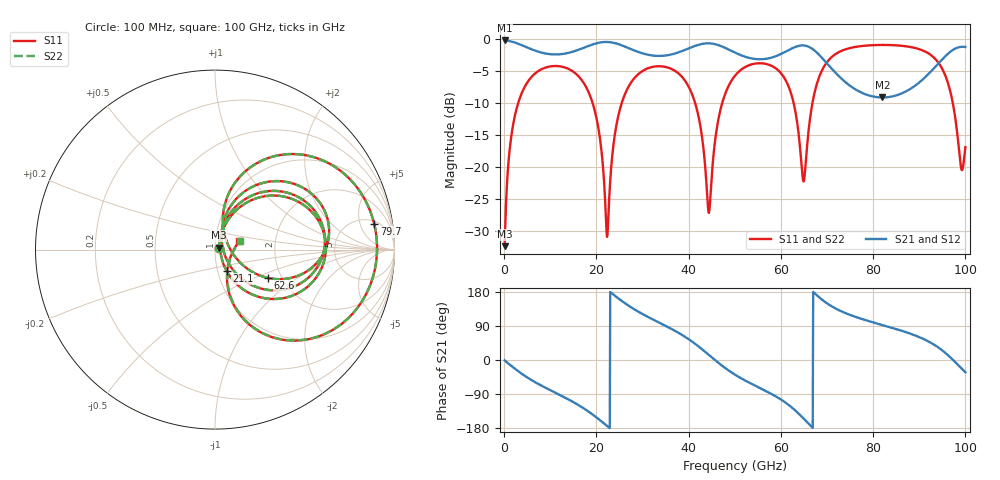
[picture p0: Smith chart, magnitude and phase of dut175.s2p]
! Touchstone file exported from HFSS 2026.1.0
!  File:  C:/ffzhzh/LocalFiles/Ansys_Project_Files/temp_test_TSV_RDL_175_1783473852_48356.aedt
!  Generated:  09:36:13 AM Jul  8, 2026
!  Design:  TSV_RDL
!  Project:  temp_test_TSV_RDL_175_1783473852_48356
! Variables:
!  h_bsmrdl = 3.23um
!  h_ox = 20um
!  h_rdl = 5um
!  h_sub = 74.95um
!  h_tmrdl = 3.38um
!  h_tsv = 74.95um
!  h_via = 3um
!  l_bsmrdl = 155.61um
!  l_sub = 2545.72um
!  l_tmrdl = 400.77um
!  m_sub = 200um
!  pitch = 42.71um
!  r_tsv = 5.46um
!  s_tmrdl = 10um
!  w_bsmrdl = 14.35um
!  w_sub = 500um
!  w_tmrdl = 10.92um
!  x_tsv_center1 = 406.23um
!  x_tsv_center2 = 576.19um
!  x_tsv_center3 = 987.88um
!  x_tsv_center4 = 1157.84um
!  x_tsv_center5 = 1569.53um
!  x_tsv_center6 = 1739.49um
# GHz S MA R 50.000000
! Terminal data exported
! Port[1] = TM_RDL1_1_T1
! Port[2] = TM_RDL5_1_T1
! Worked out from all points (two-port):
!   1000 points, 100 MHz to 100 GHz, reference 50 ohm
!   highest |S21| = -0.19 dB at 100 MHz (marker M1); lowest = -9.1 dB at 82 GHz (marker M2)
!   |S21| within 3 dB of the highest: start of sweep to 69.27 GHz; 94.91 GHz to end of sweep
!   lowest |S11| = -32.3 dB at 100 MHz (marker M3), VSWR 1.05, Z = 52.2 + j1.2 ohm
!   |S11| at or under -10 dB: 19.19 GHz to 25.47 GHz (6.28 GHz wide, 28.1 % of centre); 41.42 GHz to 47.26 GHz (5.835 GHz wide, 13.2 % of centre); 62.77 GHz to 66.83 GHz (4.054 GHz wide, 6.26 % of centre) (the widest 3 of 5)
!   |S22| runs from -32.3 to -0.9 dB; largest |S21 - S12| = 5e-13
!   S11 on the Smith chart (normalised r, x): 100 MHz: 1.04, +0.02; 21.1 GHz: 1.10, -0.27; 62.6 GHz: 1.71, -0.61; 79.7 GHz: 6, +9; 100 GHz: 1.31, +0.13
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0.1  0.02428 28.3  0.9788 -1.0  0.9788 -1.0  0.02428 28.3
! Gamma 0 0 0 0
! Port Impedance 50 0 50 0
1.6  0.1801 66.2  0.9598 -16.1  0.9598 -16.1  0.1801 66.2
4.4  0.4214 45.4  0.8811 -41.2  0.8811 -41.2  0.4214 45.4
16.8  0.4813 -33.6  0.8457 -124.1  0.8457 -124.1  0.4812 -33.5
21.1  0.1349 -61.5  0.9471 -161.9  0.9471 -161.9  0.135 -61.2
22.4  0.0298 20.0  0.9523 -174.8  0.9523 -174.8  0.03045 19.8
25.7  0.3348 58.5  0.8911 154.0  0.8911 154.0  0.3348 58.4
33.4  0.6159 9.0  0.7412 100.0  0.7412 100.0  0.6159 9.0
40.8  0.3683 -37.5  0.8712 48.1  0.8712 48.1  0.3682 -37.4
44.4  0.04411 15.4  0.9296 13.2  0.9296 13.2  0.04517 15.5
46.7  0.2625 70.1  0.8934 -9.9  0.8934 -9.9  0.2628 69.8
50.1  0.522 47.0  0.7853 -39.1  0.7853 -39.1  0.5222 46.9
56.9  0.6405 7.4  0.705 -82.9  0.705 -82.9  0.6405 7.4
62.6  0.3358 -28.1  0.8554 -127.6  0.8554 -127.6  0.3356 -28.2
64.9  0.07755 21.2  0.8952 -154.2  0.8952 -154.2  0.07714 21.4
66.7  0.2977 77.0  0.8472 -176.6  0.8472 -176.6  0.2978 77.0
70.8  0.7148 47.8  0.601 143.3  0.601 143.3  0.715 47.8
79.7  0.8985 9.1  0.3593 100.3  0.3593 100.3  0.8987 9.1
82  0.903 1.8  0.3512 92.3  0.3512 92.3  0.9032 1.8
83.4  0.9018 -2.6  0.354 87.4  0.354 87.4  0.9019 -2.6
94.1  0.6599 -50.2  0.6447 33.3  0.6447 33.3  0.6601 -50.0
100  0.1438 19.2  0.8708 -32.3  0.8708 -32.3  0.1455 18.5
